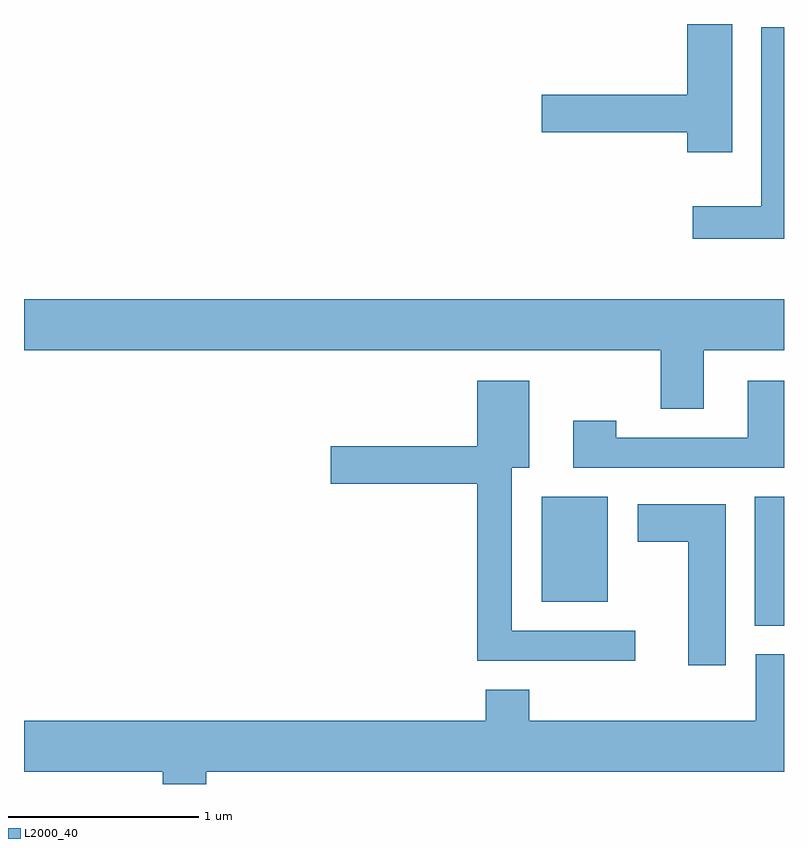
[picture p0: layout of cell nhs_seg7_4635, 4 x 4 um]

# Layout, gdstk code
import gdstk
lib = gdstk.Library(unit=1e-6, precision=1e-09)
def R(c, l, rs):  # rectangles x0, y0, x1, y1
    for r in rs: c.add(gdstk.rectangle(r[:2], r[2:], *l))
def P(c, l, *ps):  # polygons
    for p in ps: c.add(gdstk.Polygon(p, *l))
L2000_40 = (2000, 40)

nhs_seg7_4635 = lib.new_cell('nhs_seg7_4635')
R(nhs_seg7_4635, L2000_40, [(331.456,1715.086,331.611,1715.764), (330.336,1715.211,330.684,1715.764)])
P(nhs_seg7_4635, L2000_40, [(331.339,1718.252),(331.101,1718.252),(331.101,1717.879),(330.336,1717.879),(330.336,1717.681),(331.101,1717.681),(331.101,1717.576),(331.339,1717.576)],
  [(331.611,1718.234),(331.491,1718.234),(331.491,1717.294),(331.131,1717.294),(331.131,1717.121),(331.611,1717.121)],
  [(331.189,1716.536),(331.611,1716.536),(331.611,1716.804),(327.611,1716.804),(327.611,1716.536),(330.961,1716.536),(330.961,1716.226),(331.189,1716.226)],
  [(331.611,1716.374),(331.421,1716.374),(331.421,1716.074),(330.729,1716.074),(330.729,1716.164),(330.501,1716.164),(330.501,1715.916),(331.611,1715.916)],
  [(330.828,1715.059),(330.179,1715.059),(330.179,1715.916),(330.269,1715.916),(330.269,1716.374),(329.996,1716.374),(329.996,1716.029),(329.226,1716.029),(329.226,1715.831),(329.996,1715.831),(329.996,1714.901),(330.828,1714.901)],
  [(331.304,1715.724),(330.841,1715.724),(330.841,1715.526),(331.106,1715.526),(331.106,1714.876),(331.304,1714.876)],
  [(328.569,1714.316),(331.611,1714.316),(331.611,1714.934),(331.461,1714.934),(331.461,1714.584),(330.269,1714.584),(330.269,1714.749),(330.041,1714.749),(330.041,1714.584),(327.611,1714.584),(327.611,1714.316),(328.341,1714.316),(328.341,1714.252),(328.569,1714.252)])

lib.write_gds('nhs_seg7_4635.gds')
